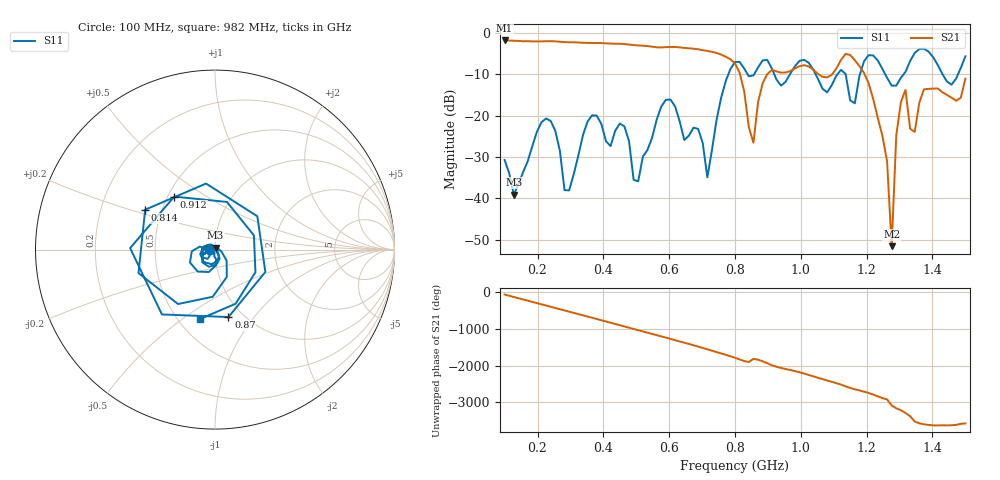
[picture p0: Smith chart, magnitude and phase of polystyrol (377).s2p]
! NanoVNA-App
! Date: 2025-09-25 15:32:49
! Start: 100MHz Stop: 1,5GHz Points: 101
! S-Parameter data: F S11 S21 S12 S22
# Hz S RI R 50
!  Frequency  S11_Real  S11_Imag  S21_Real  S21_Imag  S12_Real  S12_Imag  S22_Real  S22_Imag
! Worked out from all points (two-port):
!   101 points, 100 MHz to 1.5 GHz, reference 50 ohm
!   highest |S21| = -1.80 dB at 100 MHz (marker M1); lowest = -51.5 dB at 1.276 GHz (marker M2)
!   |S21| within 3 dB of the highest: start of sweep to 743.1 MHz
!   lowest |S11| = -39.1 dB at 128 MHz (marker M3), VSWR 1.02, Z = 50.3 + j1.07 ohm
!   |S11| at or under -10 dB: start of sweep to 779.8 MHz; 1.045 GHz to 1.111 GHz (65.91 MHz wide, 6.11 % of centre); 1.257 GHz to 1.312 GHz (55.49 MHz wide, 4.32 % of centre) (the widest 3 of 7)
!   S12 and S22 are empty: the file has one direction only
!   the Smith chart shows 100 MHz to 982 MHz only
!   S11 on the Smith chart (normalised r, x): 100 MHz: 0.94, -0.01; 814 MHz: 0.40, +0.22; 870 MHz: 0.86, -0.75; 912 MHz: 0.54, +0.37; 982 MHz: 0.64, -0.58
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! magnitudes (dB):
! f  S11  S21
! 100 MHz  -30.7  -1.8
! 128 MHz  -39.1  -1.9
! 212 MHz  -21.6  -2.0
! 282 MHz  -38.0  -2.2
! 338 MHz  -24.7  -2.4
! 506 MHz  -35.8  -3.0
! 576 MHz  -17.8  -3.5
! 716 MHz  -34.9  -4.3
! 800 MHz  -7.0  -7.3
! 814 MHz  -7.0  -9.6
! 856 MHz  -10.3  -26.5
! 870 MHz  -8.3  -16.7
! 912 MHz  -8.6  -8.9
! 982 MHz  -8.0  -8.5
! 1.038 GHz  -8.9  -8.9
! 1.164 GHz  -17.0  -6.6
! 1.206 GHz  -5.4  -12.2
! 1.262 GHz  -10.8  -31.0
! 1.276 GHz  -12.7  -51.5
! 1.29 GHz  -12.7  -24.8
! 1.318 GHz  -9.4  -13.8
! 1.5 GHz  -5.6  -11.0
